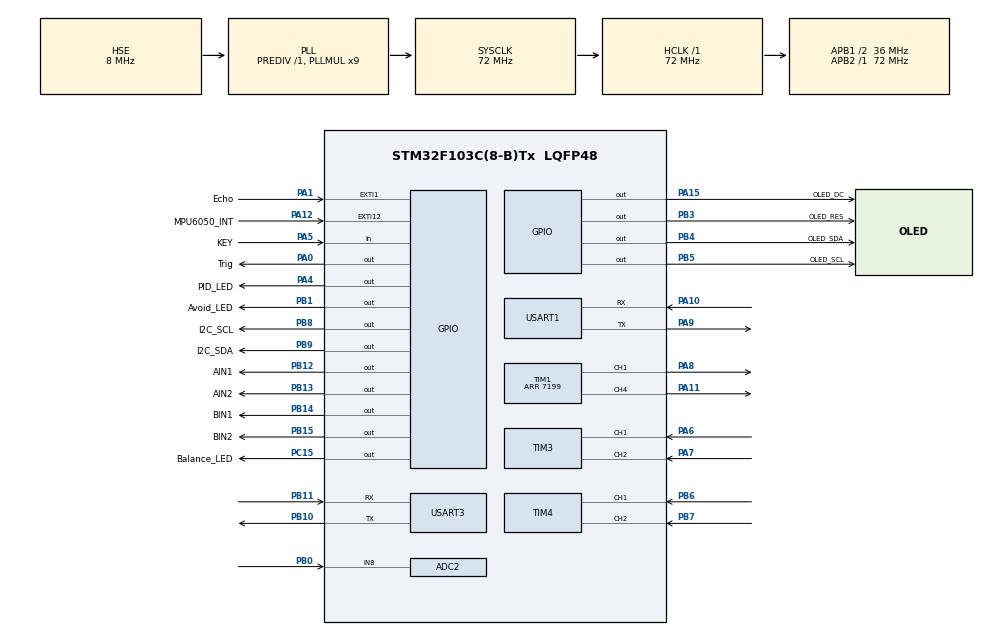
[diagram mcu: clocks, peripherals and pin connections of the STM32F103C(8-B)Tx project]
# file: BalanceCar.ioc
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ADC2.Channel-1\#ChannelRegularConversion=ADC_CHANNEL_8
ADC2.NbrOfConversionFlag=1
ADC2.Rank-1\#ChannelRegularConversion=1
ADC2.SamplingTime-1\#ChannelRegularConversion=ADC_SAMPLETIME_1CYCLE_5
Mcu.Family=STM32F1
Mcu.Name=STM32F103C(8-B)Tx
Mcu.Package=LQFP48
NVIC.EXTI15_10_IRQn=true\:10\:0\:true\:false\:true\:true\:true\:true
NVIC.EXTI1_IRQn=true\:5\:0\:true\:false\:true\:true\:true\:true
NVIC.PriorityGroup=NVIC_PRIORITYGROUP_4
NVIC.USART3_IRQn=true\:0\:0\:false\:false\:true\:true\:true\:true
PA0-WKUP.GPIO_Label=Trig
PA0-WKUP.Signal=GPIO_Output
PA1.GPIO_Label=Echo
PA1.GPIO_ModeDefaultEXTI=GPIO_MODE_IT_RISING_FALLING
PA1.Signal=GPXTI1
PA10.Mode=Asynchronous
PA10.Signal=USART1_RX
PA11.Signal=S_TIM1_CH4
PA12.GPIO_Label=MPU6050_INT
PA12.GPIO_ModeDefaultEXTI=GPIO_MODE_IT_FALLING
PA12.GPIO_PuPd=GPIO_PULLUP
PA12.Signal=GPXTI12
PA13.Mode=Serial_Wire
PA13.Signal=SYS_JTMS-SWDIO
PA14.Mode=Serial_Wire
PA14.Signal=SYS_JTCK-SWCLK
PA15.GPIO_Label=OLED_DC
PA15.GPIO_Speed=GPIO_SPEED_FREQ_HIGH
PA15.PinState=GPIO_PIN_SET
PA15.Signal=GPIO_Output
PA4.GPIO_Label=PID_LED
PA4.Signal=GPIO_Output
PA5.GPIO_Label=KEY
PA5.GPIO_PuPd=GPIO_PULLUP
PA5.Signal=GPIO_Input
PA6.Signal=S_TIM3_CH1
PA7.Signal=S_TIM3_CH2
PA8.Signal=S_TIM1_CH1
PA9.Mode=Asynchronous
PA9.Signal=USART1_TX
PB0.Signal=ADCx_IN8
PB1.GPIO_Label=Avoid_LED
PB1.Signal=GPIO_Output
PB10.Mode=Asynchronous
PB10.Signal=USART3_TX
PB11.Mode=Asynchronous
PB11.Signal=USART3_RX
PB12.GPIO_Label=AIN1
PB12.Signal=GPIO_Output
PB13.GPIO_Label=AIN2
PB13.Signal=GPIO_Output
PB14.GPIO_Label=BIN1
PB14.Signal=GPIO_Output
PB15.GPIO_Label=BIN2
PB15.Signal=GPIO_Output
PB3.GPIO_Label=OLED_RES
PB3.GPIO_Speed=GPIO_SPEED_FREQ_HIGH
PB3.PinState=GPIO_PIN_SET
PB3.Signal=GPIO_Output
PB4.GPIO_Label=OLED_SDA
PB4.GPIO_Speed=GPIO_SPEED_FREQ_HIGH
PB4.PinState=GPIO_PIN_SET
PB4.Signal=GPIO_Output
PB5.GPIO_Label=OLED_SCL
PB5.GPIO_Speed=GPIO_SPEED_FREQ_HIGH
PB5.PinState=GPIO_PIN_SET
PB5.Signal=GPIO_Output
PB6.Signal=S_TIM4_CH1
PB7.Signal=S_TIM4_CH2
PB8.GPIO_Label=I2C_SCL
PB8.GPIO_Speed=GPIO_SPEED_FREQ_HIGH
PB8.PinState=GPIO_PIN_SET
PB8.Signal=GPIO_Output
PB9.GPIO_Label=I2C_SDA
PB9.GPIO_Speed=GPIO_SPEED_FREQ_HIGH
PB9.PinState=GPIO_PIN_SET
PB9.Signal=GPIO_Output
PC15-OSC32_OUT.GPIO_Label=Balance_LED
PC15-OSC32_OUT.Signal=GPIO_Output
PD0-OSC_IN.Mode=HSE-External-Oscillator
PD0-OSC_IN.Signal=RCC_OSC_IN
PD1-OSC_OUT.Mode=HSE-External-Oscillator
PD1-OSC_OUT.Signal=RCC_OSC_OUT
ProjectManager.HeapSize=0x200
ProjectManager.StackSize=0x400
ProjectManager.TargetToolchain=MDK-ARM V5.32
RCC.ADCPresc=RCC_ADCPCLK2_DIV6
RCC.AHBFreq_Value=72000000
RCC.APB1CLKDivider=RCC_HCLK_DIV2
RCC.APB1Freq_Value=36000000
RCC.APB1TimFreq_Value=72000000
RCC.APB2Freq_Value=72000000
RCC.APB2TimFreq_Value=72000000
RCC.HCLKFreq_Value=72000000
RCC.PLLMUL=RCC_PLL_MUL9
RCC.PLLSourceVirtual=RCC_PLLSOURCE_HSE
RCC.SYSCLKFreq_VALUE=72000000
RCC.SYSCLKSource=RCC_SYSCLKSOURCE_PLLCLK
RCC.USBFreq_Value=72000000
SH.ADCx_IN8.0=ADC2_IN8,IN8
SH.S_TIM1_CH1.0=TIM1_CH1,PWM Generation1 CH1
SH.S_TIM1_CH4.0=TIM1_CH4,PWM Generation4 CH4
SH.S_TIM3_CH1.0=TIM3_CH1,Encoder_Interface
SH.S_TIM3_CH2.0=TIM3_CH2,Encoder_Interface
SH.S_TIM4_CH1.0=TIM4_CH1,Encoder_Interface
SH.S_TIM4_CH2.0=TIM4_CH2,Encoder_Interface
TIM1.Channel-PWM\ Generation1\ CH1=TIM_CHANNEL_1
TIM1.Channel-PWM\ Generation4\ CH4=TIM_CHANNEL_4
TIM1.Period=7199
TIM2.Prescaler=71
TIM3.EncoderMode=TIM_ENCODERMODE_TI12
TIM4.EncoderMode=TIM_ENCODERMODE_TI12
USART1.VirtualMode=VM_ASYNC
USART3.VirtualMode=VM_ASYNC
VP_TIM2_VS_ClockSourceINT.Mode=Internal
board=custom

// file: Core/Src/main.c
/* USER CODE BEGIN Header */
/**
  ******************************************************************************
  * @file           : main.c
  * @brief          : Main program body
  ******************************************************************************
  * @attention
  *
  * Copyright (c) 2026 STMicroelectronics.
  * All rights reserved.
  *
  * This software is licensed under terms that can be found in the LICENSE file
  * in the root directory of this software component.
  * If no LICENSE file comes with this software, it is provided AS-IS.
  *
  ******************************************************************************
  */
/* USER CODE END Header */
#include "main.h"
#include "adc.h"
#include "tim.h"
#include "usart.h"
#include "gpio.h"

/* USER CODE BEGIN Includes */
#include "dwt.h"
#include "oled.h"
#include "oledBmp.h"
#include "Battery.h"
#include "stdio.h"
#include "hcsr04.h"
#include "motor.h"
#include "encoder.h"
#include "mpu6050.h"
#include "pid.h"
/* USER CODE END Includes */

/* USER CODE BEGIN PM */

float Volt;
float Distance;
uint32_t Timer2_Count;

short Encode_Left, Encode_Right;    // 左右轮编码器
extern uint8_t Flag_Control;           // 平衡总开关
extern uint8_t Flag_Stop;              // 急停标志

extern float Roll,Pitch,Yaw;

uint8_t Flag_Balance=0;	//平衡模式标志
extern uint8_t Flag_Avoid;	//避障功能标志

//蓝牙模块相关
uint8_t Uart_Buff[128]={0};
uint8_t Uart_Data;
uint8_t Backward_Flag = 0;
uint8_t Forward_Flag = 0;
uint8_t TurnLeft_Flag = 0;
uint8_t TurnRight_Flag = 0;

/* USER CODE END PM */

void SystemClock_Config(void);
/* USER CODE BEGIN PFP */
void OLED_Show(void);
void Scan_Key(void);
void LED_Mode(void);
/* USER CODE END PFP */

int main(void)
{

  /* MCU Configuration--------------------------------------------------------*/

  /* Reset of all peripherals, Initializes the Flash interface and the Systick. */
  HAL_Init();

  /* Configure the system clock */
  SystemClock_Config();

  /* Initialize all configured peripherals */
  MX_GPIO_Init();
  MX_ADC2_Init();
  MX_TIM2_Init();
  MX_TIM1_Init();
  MX_TIM3_Init();
  MX_TIM4_Init();
  MX_USART1_UART_Init();
  MX_USART3_UART_Init();
  /* USER CODE BEGIN 2 */
  DWT_Delay_Init();

  OLED_Init();

  MPU6050_initialize();

  if(DMP_Init()!=8)while(1);
  HAL_Delay(500);

  HAL_TIM_PWM_Start(&htim1, TIM_CHANNEL_4);
  HAL_TIM_PWM_Start(&htim1, TIM_CHANNEL_1);

  HAL_TIM_Encoder_Start(&htim3, TIM_CHANNEL_ALL);
  HAL_TIM_Encoder_Start(&htim4, TIM_CHANNEL_ALL);

  HAL_NVIC_SetPriority(EXTI1_IRQn, 5, 0);
  HAL_NVIC_EnableIRQ(EXTI1_IRQn);

  HAL_NVIC_SetPriority(EXTI15_10_IRQn, 10, 0);
  HAL_NVIC_EnableIRQ(EXTI15_10_IRQn);

  HAL_UART_Receive_IT(&huart3,Uart_Buff,1);

  OLED_Show();
  /* USER CODE END 2 */

  /* Infinite loop */
  /* USER CODE BEGIN WHILE */
  while (1)
  {
	  Trigger_Hcsr04();

	  Volt=ReadVolt();
	  OLED_Show();

	  Scan_Key();
	  LED_Mode();

	  HAL_Delay(10);
    /* USER CODE END WHILE */

  }
}

void SystemClock_Config(void)
{
  RCC_OscInitTypeDef RCC_OscInitStruct = {0};
  RCC_ClkInitTypeDef RCC_ClkInitStruct = {0};
  RCC_PeriphCLKInitTypeDef PeriphClkInit = {0};

  RCC_OscInitStruct.OscillatorType = RCC_OSCILLATORTYPE_HSE;
  RCC_OscInitStruct.HSEState = RCC_HSE_ON;
  RCC_OscInitStruct.HSEPredivValue = RCC_HSE_PREDIV_DIV1;
  RCC_OscInitStruct.HSIState = RCC_HSI_ON;
  RCC_OscInitStruct.PLL.PLLState = RCC_PLL_ON;
  RCC_OscInitStruct.PLL.PLLSource = RCC_PLLSOURCE_HSE;
  RCC_OscInitStruct.PLL.PLLMUL = RCC_PLL_MUL9;
  if (HAL_RCC_OscConfig(&RCC_OscInitStruct) != HAL_OK)
  {
    Error_Handler();
  }

  RCC_ClkInitStruct.ClockType = RCC_CLOCKTYPE_HCLK|RCC_CLOCKTYPE_SYSCLK
                              |RCC_CLOCKTYPE_PCLK1|RCC_CLOCKTYPE_PCLK2;
  RCC_ClkInitStruct.SYSCLKSource = RCC_SYSCLKSOURCE_PLLCLK;
  RCC_ClkInitStruct.AHBCLKDivider = RCC_SYSCLK_DIV1;
  RCC_ClkInitStruct.APB1CLKDivider = RCC_HCLK_DIV2;
  RCC_ClkInitStruct.APB2CLKDivider = RCC_HCLK_DIV1;

  if (HAL_RCC_ClockConfig(&RCC_ClkInitStruct, FLASH_LATENCY_2) != HAL_OK)
  {
    Error_Handler();
  }
  PeriphClkInit.PeriphClockSelection  = RCC_PERIPHCLK_ADC;
  PeriphClkInit.AdcClockSelection = RCC_ADCPCLK2_DIV6;
  if (HAL_RCCEx_PeriphCLKConfig(&PeriphClkInit) != HAL_OK)
  {
    Error_Handler();
  }
}

/* USER CODE BEGIN 4 */
void OLED_Show()
{
	unsigned char Str_Buff[64];

	sprintf((char *)Str_Buff,"Uart_Data: %d  ",Uart_Data);
	OLED_ShowString(0,0,Str_Buff);

	sprintf((char *)Str_Buff,"Distance: %.2f  ",Distance);
	OLED_ShowString(0,2,Str_Buff);

	sprintf((char *)Str_Buff,"Pitch:%.2f ",Pitch);
	OLED_ShowString(0,4,Str_Buff);
}

void HAL_GPIO_EXTI_Callback(uint16_t GPIO_Pin)
{
	HAL_GPIO_TogglePin(Avoid_LED_GPIO_Port, Avoid_LED_Pin);

	if(GPIO_Pin == Echo_Pin)
	{
		if(HAL_GPIO_ReadPin(Echo_GPIO_Port,Echo_Pin)==GPIO_PIN_SET)
		{
			__HAL_TIM_SetCounter(&htim2,0);
			HAL_TIM_Base_Start(&htim2);
		}
		else
		{
			HAL_TIM_Base_Stop(&htim2);
			Timer2_Count = __HAL_TIM_GetCounter(&htim2);
			Distance = (Timer2_Count * 17.0) / 1000.0;
		}
	}
	else if(GPIO_Pin==MPU6050_INT_Pin)
	{
		static int countInto = 0;
		countInto++;
		if(countInto == 250)
		{
			HAL_GPIO_TogglePin(PID_LED_GPIO_Port,PID_LED_Pin);
			countInto=0;
		}

		motorControl();
	}
}

void Scan_Key()
{
	if(HAL_GPIO_ReadPin(KEY_GPIO_Port,KEY_Pin)==0)
	{
		HAL_Delay(10);
		if(HAL_GPIO_ReadPin(KEY_GPIO_Port,KEY_Pin)==0)
		{
			Flag_Balance = !Flag_Balance;
			Flag_Control = Flag_Balance;   // 同步给PID
			Flag_Stop = 0;                 // 解除急停
		}
		while(HAL_GPIO_ReadPin(KEY_GPIO_Port,KEY_Pin)==0);
	}
}

void LED_Mode()
{
	if(Flag_Avoid == 0)
		HAL_GPIO_WritePin(Avoid_LED_GPIO_Port,Avoid_LED_Pin,GPIO_PIN_SET);
	else
		HAL_GPIO_WritePin(Avoid_LED_GPIO_Port,Avoid_LED_Pin,GPIO_PIN_RESET);

	if(Flag_Balance == 0)
		HAL_GPIO_WritePin(Balance_LED_GPIO_Port,Balance_LED_Pin,GPIO_PIN_SET);
	else
		HAL_GPIO_WritePin(Balance_LED_GPIO_Port,Balance_LED_Pin,GPIO_PIN_RESET);
}

void HAL_UART_RxCpltCallback(UART_HandleTypeDef *huart)
{
	if(huart->Instance == USART3){	//判断接收到的数据是否来自蓝牙模块
		Uart_Data = Uart_Buff[0];	//读取接收到的指令

		//初始化清零
		Forward_Flag=0;
		Backward_Flag=0;
		TurnLeft_Flag=0;
		TurnRight_Flag=0;

		switch(Uart_Data)
		{
			case 0x41: Forward_Flag=1; break;			//65	'A'

			case 0x45: Backward_Flag=1; break;			//69	'E'
			//66 67 68 'B' 'C' 'D' 都是右转 前右 正右 后右
			case 0x42:
			case 0x43:
			case 0x44: TurnRight_Flag=1;break;
			//70 71 72 'F' 'G' 'H' 前左 正左 后左
			case 0x46:
			case 0x47:
			case 0x48: TurnLeft_Flag=1;break;

			case 0x5A: break;							//90 'Z' 停止

			case 0x4F:Flag_Avoid = !Flag_Avoid; break;	//79  'O' 避障功能开关

			default:   break;
		}
		HAL_UART_Receive_IT(&huart3,Uart_Buff,1);
	}

}

int fputc(int ch,FILE *f)
{
	HAL_UART_Transmit(&huart1,(uint8_t*)&ch,1,HAL_MAX_DELAY);
	return ch;
}

/* USER CODE END 4 */

void Error_Handler(void)
{
  __disable_irq();
  while (1)
  {
  }
}
